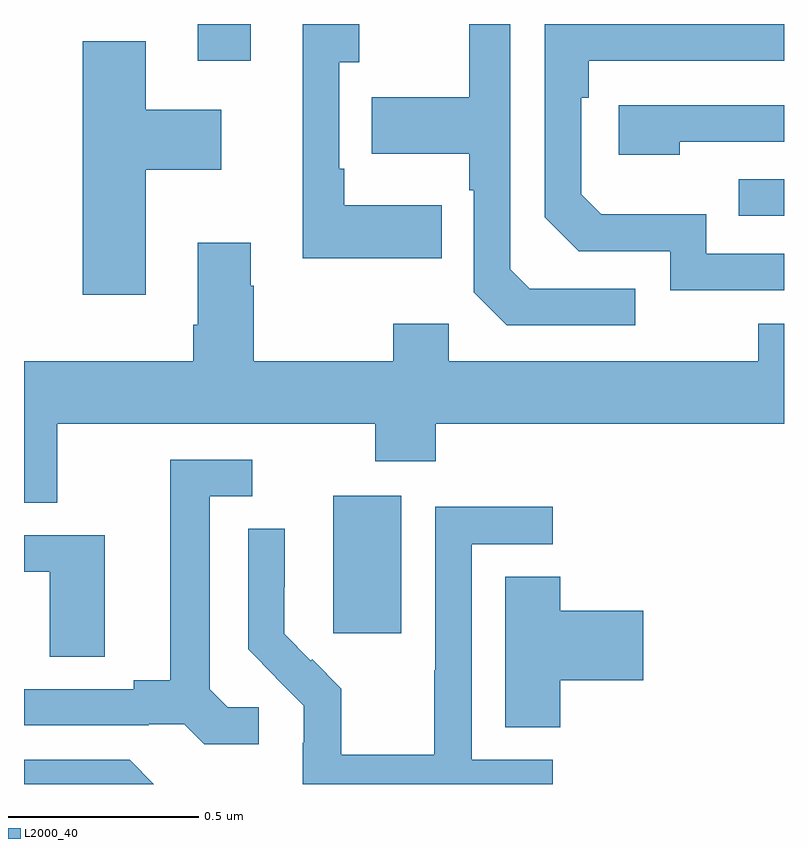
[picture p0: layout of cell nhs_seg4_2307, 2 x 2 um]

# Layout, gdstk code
import gdstk
lib = gdstk.Library(unit=1e-6, precision=1e-09)
def R(c, l, rs):  # rectangles x0, y0, x1, y1
    for r in rs: c.add(gdstk.rectangle(r[:2], r[2:], *l))
def P(c, l, *ps):  # polygons
    for p in ps: c.add(gdstk.Polygon(p, *l))
L2000_40 = (2000, 40)

nhs_seg4_2307 = lib.new_cell('nhs_seg4_2307')
R(nhs_seg4_2307, L2000_40, [(139.814,768.297,139.993,768.658), (140.881,769.395,141,769.491), (139.457,769.803,139.597,769.9)])
P(nhs_seg4_2307, L2000_40, [(140.099,769.423),(139.843,769.423),(139.843,769.519),(139.83,769.519),(139.83,769.799),(139.882,769.799),(139.882,769.9),(139.733,769.9),(139.733,769.283),(140.099,769.283)],
  [(140.608,769.203),(140.331,769.203),(140.28,769.254),(140.28,769.9),(140.172,769.9),(140.172,769.707),(139.915,769.707),(139.915,769.559),(140.172,769.559),(140.172,769.463),(140.184,769.463),(140.184,769.194),(140.271,769.107),(140.608,769.107)],
  [(141,769.296),(140.796,769.296),(140.796,769.399),(140.519,769.399),(140.466,769.452),(140.466,769.706),(140.486,769.706),(140.486,769.803),(141,769.803),(141,769.899),(140.777,769.899),(140.777,769.9),(140.665,769.9),(140.665,769.899),(140.37,769.899),(140.37,769.392),(140.46,769.302),(140.7,769.302),(140.7,769.2),(141,769.2)],
  [(139.321,769.517),(139.519,769.517),(139.519,769.675),(139.321,769.675),(139.321,769.855),(139.154,769.855),(139.154,769.188),(139.321,769.188)],
  [(140.726,769.59),(141,769.59),(141,769.686),(140.565,769.686),(140.565,769.556),(140.726,769.556)],
  [(139.087,768.848),(139.924,768.848),(139.924,768.749),(140.084,768.749),(140.084,768.848),(141,768.848),(141,769.111),(140.932,769.111),(140.932,769.012),(140.118,769.012),(140.118,769.111),(139.972,769.111),(139.972,769.012),(139.605,769.012),(139.605,769.211),(139.597,769.211),(139.597,769.324),(139.457,769.324),(139.457,769.108),(139.445,769.108),(139.445,769.012),(139,769.012),(139,768.64),(139.087,768.64)],
  [(139.618,768.102),(139.536,768.102),(139.489,768.149),(139.489,768.657),(139.6,768.657),(139.6,768.753),(139.385,768.753),(139.385,768.173),(139.289,768.173),(139.289,768.15),(139,768.15),(139,768.054),(139.328,768.054),(139.328,768.057),(139.422,768.057),(139.474,768.005),(139.618,768.005)],
  [(140.392,767.964),(140.178,767.964),(140.178,768.531),(140.392,768.531),(140.392,768.63),(140.082,768.63),(140.082,768.2),(140.08,768.2),(140.08,767.977),(139.835,767.977),(139.835,768.151),(139.758,768.228),(139.755,768.225),(139.685,768.296),(139.685,768.418),(139.686,768.418),(139.686,768.572),(139.59,768.572),(139.59,768.254),(139.663,768.181),(139.662,768.18),(139.736,768.106),(139.736,768.009),(139.734,768.009),(139.734,767.9),(140.392,767.9)],
  [(139.213,768.555),(139,768.555),(139,768.459),(139.068,768.459),(139.068,768.235),(139.213,768.235)],
  [(140.411,768.173),(140.629,768.173),(140.629,768.356),(140.411,768.356),(140.411,768.446),(140.267,768.446),(140.267,768.049),(140.411,768.049)],
  [(139.278,767.964),(139,767.964),(139,767.9),(139.342,767.9)])

lib.write_gds('nhs_seg4_2307.gds')
